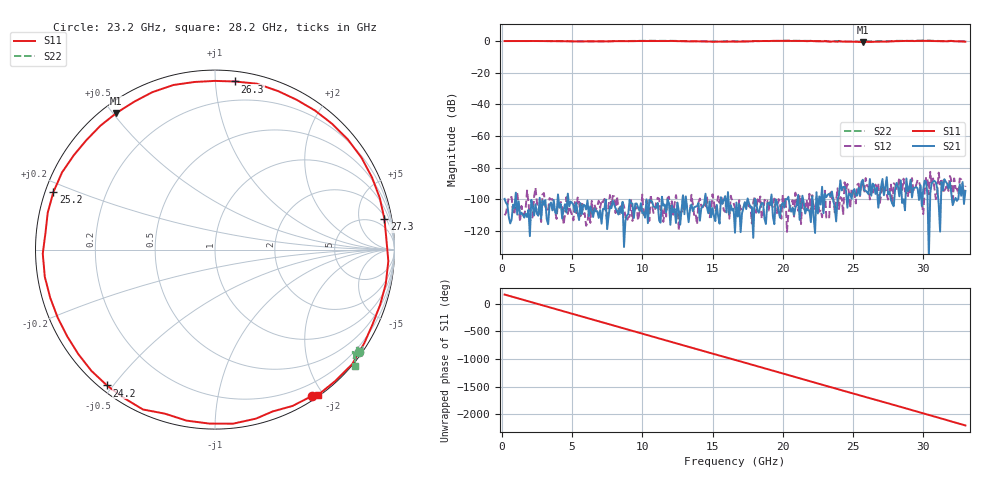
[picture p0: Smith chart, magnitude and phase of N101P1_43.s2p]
# GHZ S RI R 50
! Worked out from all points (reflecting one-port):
!   329 points, 200 MHz to 33 GHz, reference 50 ohm
!   lowest |S11| = -0.5 dB at 25.7 GHz (marker M1), VSWR 31.64, Z = 1.99 + j25.5 ohm
!   phase of S11 starts at 166 deg and turns -2370 deg over the sweep
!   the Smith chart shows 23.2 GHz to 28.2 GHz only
!   S11 on the Smith chart (normalised r, x): 23.2 GHz: 0.05, -1.86; 24.2 GHz: 0.02, -0.48; 25.2 GHz: 0.02, +0.17; 26.3 GHz: 0.07, +1.12; 27.3 GHz: 3, +11; 28.2 GHz: 0.02, -1.93
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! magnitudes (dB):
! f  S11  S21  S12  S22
! 200 MHz  0.0  -99.7  -110.1  0.0
! 5.7 GHz  -0.2  -109.3  -101.7  -0.2
! 11.2 GHz  0.0  -113.5  -99.6  0.2
! 16.6 GHz  -0.4  -121.1  -105.2  -0.3
! 19.6 GHz  0.2  -102.2  -108.6  0.1
! 22.1 GHz  0.0  -98.0  -97.4  0.1
! 23.2 GHz  -0.2  -97.1  -112.5  -0.1
! 23.4 GHz  -0.4  -98.3  -95.7  -0.3
! 23.6 GHz  -0.2  -101.1  -99.1  0.0
! 23.9 GHz  -0.4  -100.3  -93.1  -0.1
! 24 GHz  -0.2  -97.5  -106.2  0.1
! 24.2 GHz  -0.3  -94.4  -99.3  -0.2
! 25.2 GHz  -0.4  -97.8  -102.6  -0.3
! 25.7 GHz  -0.5  -87.6  -89.1  -0.3
! 26.3 GHz  -0.5  -97.7  -92.4  -0.2
! 27.3 GHz  -0.4  -92.6  -92.3  -0.1
! 27.6 GHz  -0.3  -95.2  -94.9  0.0
! 28.2 GHz  -0.1  -91.9  -90.7  0.1
! 30.3 GHz  0.2  -97.1  -86.6  0.4
! 31.4 GHz  -0.2  -94.3  -94.7  -0.1
! 32 GHz  0.1  -96.3  -88.1  0.1
! 33 GHz  -0.4  -94.7  -91.5  -0.2
